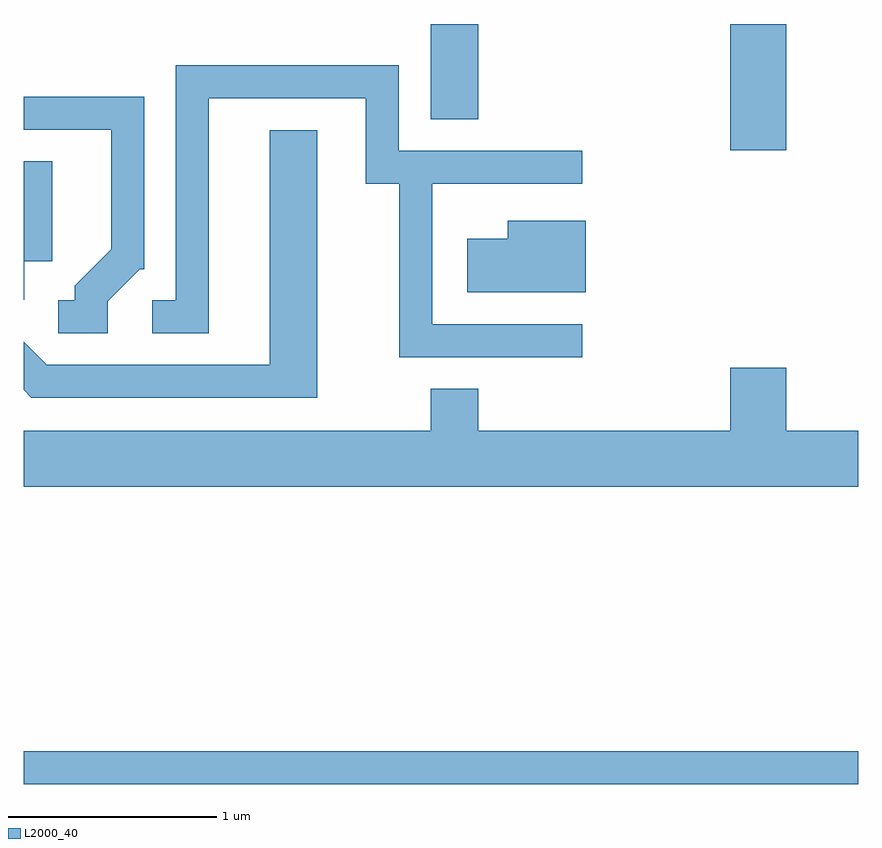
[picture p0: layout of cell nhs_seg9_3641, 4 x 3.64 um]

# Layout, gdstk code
import gdstk
lib = gdstk.Library(unit=1e-6, precision=1e-09)
def R(c, l, rs):  # rectangles x0, y0, x1, y1
    for r in rs: c.add(gdstk.rectangle(r[:2], r[2:], *l))
def P(c, l, *ps):  # polygons
    for p in ps: c.add(gdstk.Polygon(p, *l))
L2000_40 = (2000, 40)

nhs_seg9_3641 = lib.new_cell('nhs_seg9_3641')
R(nhs_seg9_3641, L2000_40, [(291.611,2034.791,295.611,2034.949), (294.996,2037.826,295.264,2038.432), (293.561,2037.976,293.789,2038.432)])
P(nhs_seg9_3641, L2000_40, [(294.288,2036.994),(293.569,2036.994),(293.569,2037.666),(294.288,2037.666),(294.288,2037.824),(293.409,2037.824),(293.409,2038.234),(292.341,2038.234),(292.341,2037.109),(292.228,2037.109),(292.228,2036.951),(292.499,2036.951),(292.499,2038.076),(293.251,2038.076),(293.251,2037.666),(293.411,2037.666),(293.411,2036.836),(294.288,2036.836)],
  [(292.014,2037.104),(292.167,2037.256),(292.189,2037.256),(292.189,2038.084),(291.611,2038.084),(291.611,2037.926),(292.031,2037.926),(292.031,2037.352),(291.856,2037.177),(291.856,2037.109),(291.778,2037.109),(291.778,2036.951),(292.014,2036.951)],
  [(293.019,2037.924),(292.791,2037.924),(292.791,2036.799),(291.722,2036.799),(291.611,2036.91),(291.611,2036.679),(291.649,2036.641),(293.019,2036.641)],
  [(291.614,2037.296),(291.749,2037.296),(291.749,2037.774),(291.611,2037.774),(291.611,2037.111),(291.614,2037.111)],
  [(294.304,2037.489),(293.931,2037.489),(293.931,2037.404),(293.736,2037.404),(293.736,2037.146),(294.304,2037.146)],
  [(295.611,2036.484),(295.264,2036.484),(295.264,2036.784),(294.996,2036.784),(294.996,2036.484),(293.789,2036.484),(293.789,2036.684),(293.561,2036.684),(293.561,2036.484),(291.611,2036.484),(291.611,2036.216),(295.611,2036.216)])

lib.write_gds('nhs_seg9_3641.gds')
